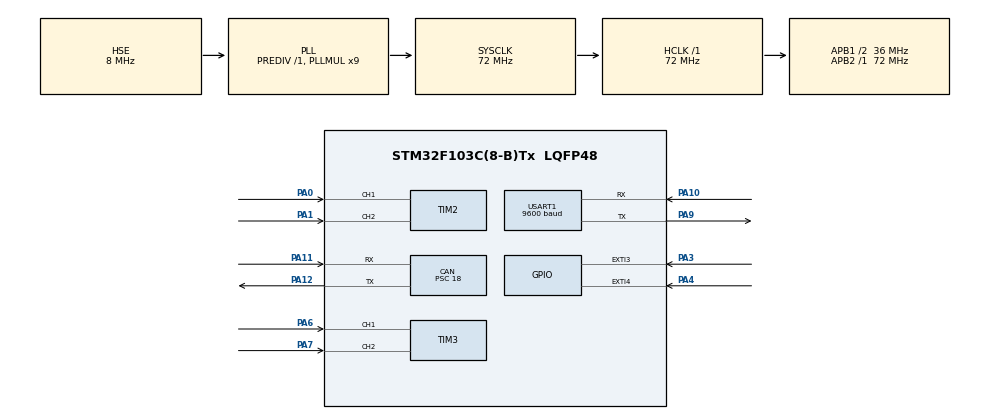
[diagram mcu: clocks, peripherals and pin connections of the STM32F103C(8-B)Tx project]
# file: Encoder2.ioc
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CAN.BS1=CAN_BS1_2TQ
CAN.CalculateBaudRate=500000
CAN.CalculateTimeBit=2000
CAN.CalculateTimeQuantum=500.0
CAN.NART=ENABLE
CAN.Prescaler=18
Mcu.Family=STM32F1
Mcu.Name=STM32F103C(8-B)Tx
Mcu.Package=LQFP48
NVIC.CAN1_RX1_IRQn=true\:0\:0\:false\:false\:true\:true\:true\:true
NVIC.EXTI3_IRQn=true\:1\:0\:true\:false\:true\:true\:true\:true
NVIC.EXTI4_IRQn=true\:1\:0\:true\:false\:true\:true\:true\:true
NVIC.PriorityGroup=NVIC_PRIORITYGROUP_4
NVIC.USART1_IRQn=true\:1\:0\:true\:false\:true\:true\:true\:true
NVIC.USB_LP_CAN1_RX0_IRQn=true\:0\:0\:false\:false\:true\:true\:true\:true
PA0-WKUP.GPIO_PuPd=GPIO_PULLUP
PA0-WKUP.Signal=S_TIM2_CH1_ETR
PA1.GPIO_PuPd=GPIO_PULLUP
PA1.Signal=S_TIM2_CH2
PA10.Mode=Asynchronous
PA10.Signal=USART1_RX
PA11.Mode=CAN_Activate
PA11.Signal=CAN_RX
PA12.Mode=CAN_Activate
PA12.Signal=CAN_TX
PA13.Mode=Serial_Wire
PA13.Signal=SYS_JTMS-SWDIO
PA14.Mode=Serial_Wire
PA14.Signal=SYS_JTCK-SWCLK
PA3.GPIO_ModeDefaultEXTI=GPIO_MODE_IT_FALLING
PA3.GPIO_PuPd=GPIO_PULLUP
PA3.Signal=GPXTI3
PA4.GPIO_ModeDefaultEXTI=GPIO_MODE_IT_FALLING
PA4.GPIO_PuPd=GPIO_PULLUP
PA4.Signal=GPXTI4
PA6.GPIO_PuPd=GPIO_PULLUP
PA6.Signal=S_TIM3_CH1
PA7.GPIO_PuPd=GPIO_PULLUP
PA7.Signal=S_TIM3_CH2
PA9.Mode=Asynchronous
PA9.Signal=USART1_TX
PD0-OSC_IN.Mode=HSE-External-Oscillator
PD0-OSC_IN.Signal=RCC_OSC_IN
PD1-OSC_OUT.Mode=HSE-External-Oscillator
PD1-OSC_OUT.Signal=RCC_OSC_OUT
ProjectManager.HeapSize=0x200
ProjectManager.StackSize=0x400
ProjectManager.TargetToolchain=MDK-ARM V5.32
RCC.AHBFreq_Value=72000000
RCC.APB1CLKDivider=RCC_HCLK_DIV2
RCC.APB1Freq_Value=36000000
RCC.APB1TimFreq_Value=72000000
RCC.APB2Freq_Value=72000000
RCC.APB2TimFreq_Value=72000000
RCC.HCLKFreq_Value=72000000
RCC.PLLMUL=RCC_PLL_MUL9
RCC.PLLSourceVirtual=RCC_PLLSOURCE_HSE
RCC.SYSCLKFreq_VALUE=72000000
RCC.SYSCLKSource=RCC_SYSCLKSOURCE_PLLCLK
RCC.USBFreq_Value=72000000
SH.S_TIM2_CH1_ETR.0=TIM2_CH1,Encoder_Interface
SH.S_TIM2_CH2.0=TIM2_CH2,Encoder_Interface
SH.S_TIM3_CH1.0=TIM3_CH1,Encoder_Interface
SH.S_TIM3_CH2.0=TIM3_CH2,Encoder_Interface
TIM2.EncoderMode=TIM_ENCODERMODE_TI12
TIM3.EncoderMode=TIM_ENCODERMODE_TI12
USART1.BaudRate=9600
USART1.VirtualMode=VM_ASYNC
board=custom

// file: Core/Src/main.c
/* USER CODE BEGIN Header */
/**
  ******************************************************************************
  * @file           : main.c
  * @brief          : Main program body
  ******************************************************************************
  * @attention
  *
  * Copyright (c) 2024 STMicroelectronics.
  * All rights reserved.
  *
  * This software is licensed under terms that can be found in the LICENSE file
  * in the root directory of this software component.
  * If no LICENSE file comes with this software, it is provided AS-IS.
  *
  ******************************************************************************
  */
/* USER CODE END Header */
#include "main.h"

/* USER CODE BEGIN Includes */
#include "Canbus.h"
#include "EncoderPosition.h"
#include "WIT.h"
/* USER CODE END Includes */

CAN_HandleTypeDef hcan;

TIM_HandleTypeDef htim2;
TIM_HandleTypeDef htim3;

UART_HandleTypeDef huart1;

/* USER CODE BEGIN PV */
Encoder_HandleTypeDef encoderx;
Encoder_HandleTypeDef encodery;
/* USER CODE END PV */

void SystemClock_Config(void);
static void MX_GPIO_Init(void);
static void MX_TIM2_Init(void);
static void MX_TIM3_Init(void);
static void MX_USART1_UART_Init(void);
static void MX_CAN_Init(void);

/* USER CODE BEGIN 0 */
//Khai báo bien cho Encoder
Float_to_Uint8_t x_position;
Float_to_Uint8_t y_position;
uint8_t encoderx_flag;
uint8_t encodery_flag;
uint8_t encoder_start_flag;

//Khai báo bien cho IMU
uint8_t WIT_rx;
Angle_ReadTypeDef angle;
uint8_t IMU_start_flag;
uint8_t IMU_data[6];

//Khai báo bien cho CAN
CAN_FilterTypeDef		canfilterfifo0;
CAN_FilterTypeDef 	canfilterfifo1;
CAN_TxHeaderTypeDef Encoder_TxHeader;
CAN_TxHeaderTypeDef IMU_TxHeader;
CAN_RxHeaderTypeDef Encoder_RxHeader;
CAN_RxHeaderTypeDef IMU_RxHeader;
uint8_t Encoder_RxData[8];
uint8_t IMU_RxData[8];

//Ngat ngoai GPIO cua Encoder xung Z
void HAL_GPIO_EXTI_Callback(uint16_t GPIO_Pin)
{
	if (!encoder_start_flag) //Chua có lênh cua master chua khoi dông
	return;

	if (GPIO_Pin == ZX_PIN && Encoder_Offset_Detect(&encoderx)) //Tinh do lech cua gôc O theo phuong Ox
	{
		encoderx_flag = 1;
	}
	if (GPIO_Pin == ZY_PIN && Encoder_Offset_Detect(&encodery)) //Tinh do lech cua gôc O theo phuong Oy
	{
		encodery_flag = 1;
	}
}

//Ngat ngoai UART cua IMU
void HAL_UART_RxCpltCallback(UART_HandleTypeDef *huart)
{
	if (huart->Instance == huart1.Instance)
	{
		WIT_Data_In(WIT_rx);
		HAL_UART_Receive_IT(&huart1, &WIT_rx, 1);
	}
}

//Nhân lênh CAN cho Encoder
void HAL_CAN_RxFifo0MsgPendingCallback(CAN_HandleTypeDef *hcan)
{
	if (encoder_start_flag)
	{
		HAL_CAN_GetRxMessage(hcan, CAN_RX_FIFO0, &Encoder_RxHeader, Encoder_RxData);
		return;
	}
	if(CAN_Encoder_TxStart_Init(hcan, CAN_RX_FIFO0, &Encoder_RxHeader, Encoder_RxData)) //Ðoi lênh bat dâu
	{
		HAL_TIM_Encoder_Start(&htim2, TIM_CHANNEL_ALL);
		HAL_TIM_Encoder_Start(&htim3, TIM_CHANNEL_ALL);
		encoder_start_flag = 1;
	}
}

//Nhân lênh CAN cho IMU
void HAL_CAN_RxFifo1MsgPendingCallback(CAN_HandleTypeDef *hcan)
{
	if (IMU_start_flag)
	{
		HAL_CAN_GetRxMessage(hcan, CAN_RX_FIFO1, &IMU_RxHeader, IMU_RxData);
		return;
	}
	if (CAN_IMU_TxStart_Init(hcan, CAN_RX_FIFO1, &IMU_RxHeader, IMU_RxData)) //Ðoi lênh bat dâu
	{
		HAL_UART_Receive_IT(&huart1, &WIT_rx, 1);
		IMU_start_flag = 1;
	}
}

/* USER CODE END 0 */

int main(void)
{

  /* MCU Configuration--------------------------------------------------------*/

  /* Reset of all peripherals, Initializes the Flash interface and the Systick. */
  HAL_Init();

  /* Configure the system clock */
  SystemClock_Config();

  /* Initialize all configured peripherals */
  MX_GPIO_Init();
  MX_TIM2_Init();
  MX_TIM3_Init();
  MX_USART1_UART_Init();
  MX_CAN_Init();
  /* USER CODE BEGIN 2 */

	HAL_CAN_Start(&hcan);
	HAL_CAN_ActivateNotification(&hcan, CAN_IT_RX_FIFO0_MSG_PENDING);//Bât thông báo ngat ngoài
	HAL_CAN_ActivateNotification(&hcan, CAN_IT_RX_FIFO1_MSG_PENDING);
	//Khoi tao filter cho cac fifo
	CAN_Single_FilterMaskIDHigh_Config(&hcan, &canfilterfifo0, 0, CAN_RX_FIFO0, 0x6F0<<5, 0xFFF<<4);
	CAN_Single_FilterMaskIDHigh_Config(&hcan, &canfilterfifo0, 1, CAN_RX_FIFO1, 0x6F1<<5, 0xFFF<<4);
	//Khoi tao cac TxHeader
	CAN_TxHeader_Init(&Encoder_TxHeader, 8, 0x7F0);
	CAN_TxHeader_Init(&IMU_TxHeader, 8, 0x7F1);

  /* USER CODE END 2 */

  /* Infinite loop */
  /* USER CODE BEGIN WHILE */
  while (1)
  {
		//Feedback chu kì gui data cho master
		CAN_Encoder_Feedback(&hcan, &Encoder_TxHeader, Encoder_RxData);
		CAN_IMU_Feedback(&hcan, &IMU_TxHeader, IMU_RxData);

		//Nhân lênh gui theo chu kì moi tu master nêu có
		CAN_Encoder_TxDelay(Encoder_RxData);
		CAN_IMU_TxDelay(IMU_RxData);

		//Reset môc 0 cho Z
	  WIT_Reset_Zero(&huart1);
		//Nhân và luu góc vào angle và byte vào IMU_data dê truyên cho master
	  WIT_Data_Process(&angle, IMU_data);

		//Hiêu chinh sai sô thông qua xung Z
		if (encoderx_flag)
		{
			Encoder_Pulse_Calibration(&encoderx);
			encoderx_flag = 0;
		}
		if (encodery_flag)
		{
			Encoder_Pulse_Calibration(&encodery);
			encodery_flag = 0;
		}

		//Tính toán vi trí Encoder
		Encoder_Position(&encoderx, &htim2, 1000, 50);
		Encoder_Position(&encodery, &htim3, 1000, 50);

		//Luu dê chuyên sang uint8_t chuân bi truyên du liêu
		x_position.f = encoderx.position;
		y_position.f = encodery.position;

		if (encoder_start_flag) //Ðoi dên khi có lênh khoi dông tù master
		{
			//Gui vi trí X, Y
			CAN_Encoder_Transmit(&hcan, &Encoder_TxHeader, x_position, y_position);
		}
		if (IMU_start_flag) //Ðoi dên khi có lênh khoi dông tù master
		{
			//Gui 3 thông sô góc
			CAN_IMU_Transmit(&hcan, &IMU_TxHeader, IMU_data);
		}

		//Reset các thiêt bi khi có lênh tu master;
		if (Encoder_RxData[0] == CAN_RESET_ENCODER)
		{
			Encoder_Reset(&encoderx, &htim2);
			Encoder_Reset(&encodery, &htim3);
		}

		if (IMU_RxData[0] == CAN_RESET_IMU)
		{
			WIT_Reset_Flag();
		}

    /* USER CODE END WHILE */

  }
}

void SystemClock_Config(void)
{
  RCC_OscInitTypeDef RCC_OscInitStruct = {0};
  RCC_ClkInitTypeDef RCC_ClkInitStruct = {0};

  /** Initializes the RCC Oscillators according to the specified parameters
  * in the RCC_OscInitTypeDef structure.
  */
  RCC_OscInitStruct.OscillatorType = RCC_OSCILLATORTYPE_HSE;
  RCC_OscInitStruct.HSEState = RCC_HSE_ON;
  RCC_OscInitStruct.HSEPredivValue = RCC_HSE_PREDIV_DIV1;
  RCC_OscInitStruct.HSIState = RCC_HSI_ON;
  RCC_OscInitStruct.PLL.PLLState = RCC_PLL_ON;
  RCC_OscInitStruct.PLL.PLLSource = RCC_PLLSOURCE_HSE;
  RCC_OscInitStruct.PLL.PLLMUL = RCC_PLL_MUL9;
  if (HAL_RCC_OscConfig(&RCC_OscInitStruct) != HAL_OK)
  {
    Error_Handler();
  }

  /** Initializes the CPU, AHB and APB buses clocks
  */
  RCC_ClkInitStruct.ClockType = RCC_CLOCKTYPE_HCLK|RCC_CLOCKTYPE_SYSCLK
                              |RCC_CLOCKTYPE_PCLK1|RCC_CLOCKTYPE_PCLK2;
  RCC_ClkInitStruct.SYSCLKSource = RCC_SYSCLKSOURCE_PLLCLK;
  RCC_ClkInitStruct.AHBCLKDivider = RCC_SYSCLK_DIV1;
  RCC_ClkInitStruct.APB1CLKDivider = RCC_HCLK_DIV2;
  RCC_ClkInitStruct.APB2CLKDivider = RCC_HCLK_DIV1;

  if (HAL_RCC_ClockConfig(&RCC_ClkInitStruct, FLASH_LATENCY_2) != HAL_OK)
  {
    Error_Handler();
  }
}

static void MX_CAN_Init(void)
{

  hcan.Instance = CAN1;
  hcan.Init.Prescaler = 18;
  hcan.Init.Mode = CAN_MODE_NORMAL;
  hcan.Init.SyncJumpWidth = CAN_SJW_1TQ;
  hcan.Init.TimeSeg1 = CAN_BS1_2TQ;
  hcan.Init.TimeSeg2 = CAN_BS2_1TQ;
  hcan.Init.TimeTriggeredMode = DISABLE;
  hcan.Init.AutoBusOff = DISABLE;
  hcan.Init.AutoWakeUp = DISABLE;
  hcan.Init.AutoRetransmission = ENABLE;
  hcan.Init.ReceiveFifoLocked = DISABLE;
  hcan.Init.TransmitFifoPriority = DISABLE;
  if (HAL_CAN_Init(&hcan) != HAL_OK)
  {
    Error_Handler();
  }

}

static void MX_TIM2_Init(void)
{

  TIM_Encoder_InitTypeDef sConfig = {0};
  TIM_MasterConfigTypeDef sMasterConfig = {0};

  htim2.Instance = TIM2;
  htim2.Init.Prescaler = 0;
  htim2.Init.CounterMode = TIM_COUNTERMODE_UP;
  htim2.Init.Period = 65535;
  htim2.Init.ClockDivision = TIM_CLOCKDIVISION_DIV1;
  htim2.Init.AutoReloadPreload = TIM_AUTORELOAD_PRELOAD_DISABLE;
  sConfig.EncoderMode = TIM_ENCODERMODE_TI12;
  sConfig.IC1Polarity = TIM_ICPOLARITY_RISING;
  sConfig.IC1Selection = TIM_ICSELECTION_DIRECTTI;
  sConfig.IC1Prescaler = TIM_ICPSC_DIV1;
  sConfig.IC1Filter = 0;
  sConfig.IC2Polarity = TIM_ICPOLARITY_RISING;
  sConfig.IC2Selection = TIM_ICSELECTION_DIRECTTI;
  sConfig.IC2Prescaler = TIM_ICPSC_DIV1;
  sConfig.IC2Filter = 0;
  if (HAL_TIM_Encoder_Init(&htim2, &sConfig) != HAL_OK)
  {
    Error_Handler();
  }
  sMasterConfig.MasterOutputTrigger = TIM_TRGO_RESET;
  sMasterConfig.MasterSlaveMode = TIM_MASTERSLAVEMODE_DISABLE;
  if (HAL_TIMEx_MasterConfigSynchronization(&htim2, &sMasterConfig) != HAL_OK)
  {
    Error_Handler();
  }

}

static void MX_TIM3_Init(void)
{

  TIM_Encoder_InitTypeDef sConfig = {0};
  TIM_MasterConfigTypeDef sMasterConfig = {0};

  htim3.Instance = TIM3;
  htim3.Init.Prescaler = 0;
  htim3.Init.CounterMode = TIM_COUNTERMODE_UP;
  htim3.Init.Period = 65535;
  htim3.Init.ClockDivision = TIM_CLOCKDIVISION_DIV1;
  htim3.Init.AutoReloadPreload = TIM_AUTORELOAD_PRELOAD_DISABLE;
  sConfig.EncoderMode = TIM_ENCODERMODE_TI12;
  sConfig.IC1Polarity = TIM_ICPOLARITY_RISING;
  sConfig.IC1Selection = TIM_ICSELECTION_DIRECTTI;
  sConfig.IC1Prescaler = TIM_ICPSC_DIV1;
  sConfig.IC1Filter = 0;
  sConfig.IC2Polarity = TIM_ICPOLARITY_RISING;
  sConfig.IC2Selection = TIM_ICSELECTION_DIRECTTI;
  sConfig.IC2Prescaler = TIM_ICPSC_DIV1;
  sConfig.IC2Filter = 0;
  if (HAL_TIM_Encoder_Init(&htim3, &sConfig) != HAL_OK)
  {
    Error_Handler();
  }
  sMasterConfig.MasterOutputTrigger = TIM_TRGO_RESET;
  sMasterConfig.MasterSlaveMode = TIM_MASTERSLAVEMODE_DISABLE;
  if (HAL_TIMEx_MasterConfigSynchronization(&htim3, &sMasterConfig) != HAL_OK)
  {
    Error_Handler();
  }

}

static void MX_USART1_UART_Init(void)
{

  huart1.Instance = USART1;
  huart1.Init.BaudRate = 9600;
  huart1.Init.WordLength = UART_WORDLENGTH_8B;
  huart1.Init.StopBits = UART_STOPBITS_1;
  huart1.Init.Parity = UART_PARITY_NONE;
  huart1.Init.Mode = UART_MODE_TX_RX;
  huart1.Init.HwFlowCtl = UART_HWCONTROL_NONE;
  huart1.Init.OverSampling = UART_OVERSAMPLING_16;
  if (HAL_UART_Init(&huart1) != HAL_OK)
  {
    Error_Handler();
  }

}

static void MX_GPIO_Init(void)
{
  GPIO_InitTypeDef GPIO_InitStruct = {0};

  /* GPIO Ports Clock Enable */
  __HAL_RCC_GPIOD_CLK_ENABLE();
  __HAL_RCC_GPIOA_CLK_ENABLE();

  /*Configure GPIO pins : PA3 PA4 */
  GPIO_InitStruct.Pin = GPIO_PIN_3|GPIO_PIN_4;
  GPIO_InitStruct.Mode = GPIO_MODE_IT_FALLING;
  GPIO_InitStruct.Pull = GPIO_PULLUP;
  HAL_GPIO_Init(GPIOA, &GPIO_InitStruct);

  /* EXTI interrupt init*/
  HAL_NVIC_SetPriority(EXTI3_IRQn, 1, 0);
  HAL_NVIC_EnableIRQ(EXTI3_IRQn);

  HAL_NVIC_SetPriority(EXTI4_IRQn, 1, 0);
  HAL_NVIC_EnableIRQ(EXTI4_IRQn);

}

void Error_Handler(void)
{
  __disable_irq();
  while (1)
  {
  }
}
